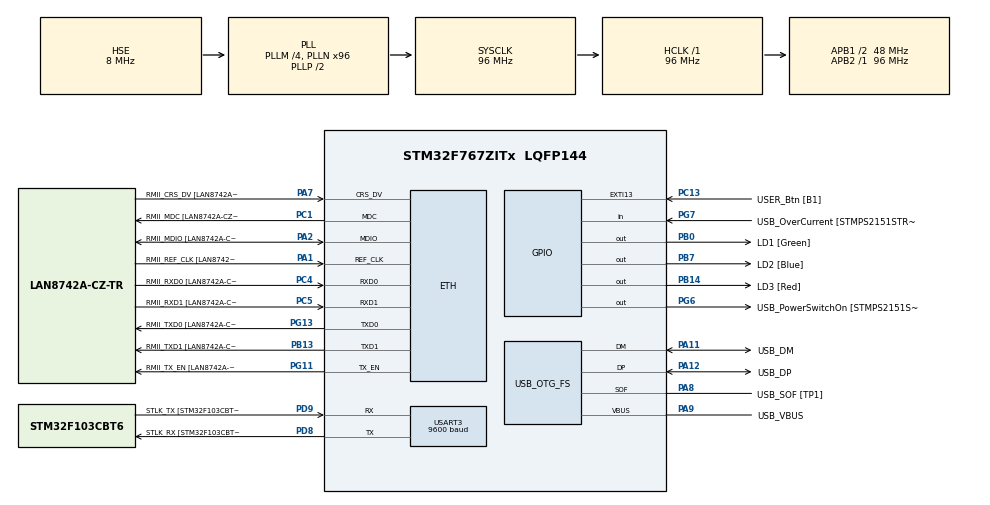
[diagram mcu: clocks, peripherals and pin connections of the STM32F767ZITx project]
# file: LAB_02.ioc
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ETH.MediaInterface=HAL_ETH_RMII_MODE
ETH.PHY_Name=LAN8742A_PHY_ADDRESS
ETH.PHY_Value=0
ETH.PhyAddress=0
Mcu.Family=STM32F7
Mcu.Name=STM32F767ZITx
Mcu.Package=LQFP144
NVIC.PriorityGroup=NVIC_PRIORITYGROUP_4
NVIC.USART3_IRQn=true\:0\:0\:false\:false\:true\:true\:true\:true
PA1.GPIO_Label=RMII_REF_CLK [LAN8742A-CZ-TR_REFCLK0]
PA1.Mode=RMII
PA1.Signal=ETH_REF_CLK
PA10.GPIO_Label=USB_ID
PA10.Signal=USB_OTG_FS_ID
PA11.GPIO_Label=USB_DM
PA11.Mode=Device_Only
PA11.Signal=USB_OTG_FS_DM
PA12.GPIO_Label=USB_DP
PA12.Mode=Device_Only
PA12.Signal=USB_OTG_FS_DP
PA13.GPIO_Label=TMS
PA13.Mode=Serial_Wire
PA13.Signal=SYS_JTMS-SWDIO
PA14.GPIO_Label=TCK
PA14.Mode=Serial_Wire
PA14.Signal=SYS_JTCK-SWCLK
PA2.GPIO_Label=RMII_MDIO [LAN8742A-CZ-TR_MDIO]
PA2.Mode=RMII
PA2.Signal=ETH_MDIO
PA7.GPIO_Label=RMII_CRS_DV [LAN8742A-CZ-TR_CRS_DV]
PA7.Mode=RMII
PA7.Signal=ETH_CRS_DV
PA8.GPIO_Label=USB_SOF [TP1]
PA8.Mode=Activate_SOF_FS
PA8.Signal=USB_OTG_FS_SOF
PA9.GPIO_Label=USB_VBUS
PA9.Mode=Activate_VBUS
PA9.Signal=USB_OTG_FS_VBUS
PB0.GPIO_Label=LD1 [Green]
PB0.Signal=GPIO_Output
PB13.GPIO_Label=RMII_TXD1 [LAN8742A-CZ-TR_TXD1]
PB13.Mode=RMII
PB13.Signal=ETH_TXD1
PB14.GPIO_Label=LD3 [Red]
PB14.Signal=GPIO_Output
PB3.GPIO_Label=SWO
PB3.Signal=SYS_JTDO-SWO
PB7.GPIO_Label=LD2 [Blue]
PB7.Signal=GPIO_Output
PC1.GPIO_Label=RMII_MDC [LAN8742A-CZ-TR_MDC]
PC1.Mode=RMII
PC1.Signal=ETH_MDC
PC13.GPIO_Label=USER_Btn [B1]
PC13.Signal=GPXTI13
PC14/OSC32_IN.Mode=LSE-External-Oscillator
PC14/OSC32_IN.Signal=RCC_OSC32_IN
PC15/OSC32_OUT.Mode=LSE-External-Oscillator
PC15/OSC32_OUT.Signal=RCC_OSC32_OUT
PC4.GPIO_Label=RMII_RXD0 [LAN8742A-CZ-TR_RXD0]
PC4.Mode=RMII
PC4.Signal=ETH_RXD0
PC5.GPIO_Label=RMII_RXD1 [LAN8742A-CZ-TR_RXD1]
PC5.Mode=RMII
PC5.Signal=ETH_RXD1
PD8.GPIO_Label=STLK_RX [STM32F103CBT6_PA3]
PD8.Mode=Asynchronous
PD8.Signal=USART3_TX
PD9.GPIO_Label=STLK_TX [STM32F103CBT6_PA2]
PD9.Mode=Asynchronous
PD9.Signal=USART3_RX
PG11.GPIO_Label=RMII_TX_EN [LAN8742A-CZ-TR_TXEN]
PG11.Mode=RMII
PG11.Signal=ETH_TX_EN
PG13.GPIO_Label=RMII_TXD0 [LAN8742A-CZ-TR_TXD0]
PG13.Mode=RMII
PG13.Signal=ETH_TXD0
PG6.GPIO_Label=USB_PowerSwitchOn [STMPS2151STR_EN]
PG6.Signal=GPIO_Output
PG7.GPIO_Label=USB_OverCurrent [STMPS2151STR_FAULT]
PG7.Signal=GPIO_Input
PH0/OSC_IN.GPIO_Label=MCO [STM32F103CBT6_PA8]
PH0/OSC_IN.Mode=HSE-External-Clock-Source
PH0/OSC_IN.Signal=RCC_OSC_IN
PH1/OSC_OUT.Mode=HSE-External-Clock-Source
PH1/OSC_OUT.Signal=RCC_OSC_OUT
ProjectManager.HeapSize=0x200
ProjectManager.StackSize=0x400
ProjectManager.TargetToolchain=STM32CubeIDE
RCC.48MHZClocksFreq_Value=24000000
RCC.AHBFreq_Value=96000000
RCC.APB1CLKDivider=RCC_HCLK_DIV2
RCC.APB1Freq_Value=48000000
RCC.APB1TimFreq_Value=96000000
RCC.APB2Freq_Value=96000000
RCC.APB2TimFreq_Value=96000000
RCC.CortexFreq_Value=96000000
RCC.HCLKFreq_Value=96000000
RCC.HSE_VALUE=8000000
RCC.HSI_VALUE=16000000
RCC.PLLM=4
RCC.PLLMUL=RCC_PLL_MUL9
RCC.PLLN=96
RCC.PLLQ=4
RCC.PRESCALERUSB=RCC_USBCLKSOURCE_PLL_DIV1_5
RCC.SYSCLKFreq_VALUE=96000000
RCC.SYSCLKSource=RCC_SYSCLKSOURCE_PLLCLK
RCC.SYSCLKSourceVirtual=RCC_SYSCLKSOURCE_PLLCLK
RCC.USBFreq_Value=48000000
RCC.VCOOutputFreq_Value=192000000
USART3.BaudRate=9600
USART3.VirtualMode-Asynchronous=VM_ASYNC
USB_OTG_FS.VirtualMode=Device_Only
board=NUCLEO-F767ZI

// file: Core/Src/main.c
/* USER CODE BEGIN Header */
/**
 ******************************************************************************
 * @file           : main.c
 * @brief          : Main program body
 ******************************************************************************
 * @attention
 *
 * Copyright (c) 2025 STMicroelectronics.
 * All rights reserved.
 *
 * This software is licensed under terms that can be found in the LICENSE file
 * in the root directory of this software component.
 * If no LICENSE file comes with this software, it is provided AS-IS.
 *
 ******************************************************************************
 */
/* USER CODE END Header */
#include "main.h"
#include "string.h"

#if defined ( __ICCARM__ ) /*!< IAR Compiler */
#pragma location=0x2007c000
ETH_DMADescTypeDef  DMARxDscrTab[ETH_RX_DESC_CNT]; /* Ethernet Rx DMA Descriptors */
#pragma location=0x2007c0a0
ETH_DMADescTypeDef  DMATxDscrTab[ETH_TX_DESC_CNT]; /* Ethernet Tx DMA Descriptors */

#elif defined ( __CC_ARM )  /* MDK ARM Compiler */

__attribute__((at(0x2007c000))) ETH_DMADescTypeDef  DMARxDscrTab[ETH_RX_DESC_CNT]; /* Ethernet Rx DMA Descriptors */
__attribute__((at(0x2007c0a0))) ETH_DMADescTypeDef  DMATxDscrTab[ETH_TX_DESC_CNT]; /* Ethernet Tx DMA Descriptors */

#elif defined ( __GNUC__ ) /* GNU Compiler */

ETH_DMADescTypeDef DMARxDscrTab[ETH_RX_DESC_CNT] __attribute__((section(".RxDecripSection"))); /* Ethernet Rx DMA Descriptors */
ETH_DMADescTypeDef DMATxDscrTab[ETH_TX_DESC_CNT] __attribute__((section(".TxDecripSection"))); /* Ethernet Tx DMA Descriptors */
#endif

ETH_TxPacketConfig TxConfig;

ETH_HandleTypeDef heth;

UART_HandleTypeDef huart3;

PCD_HandleTypeDef hpcd_USB_OTG_FS;

void SystemClock_Config(void);
static void MX_GPIO_Init(void);
static void MX_ETH_Init(void);
static void MX_USART3_UART_Init(void);
static void MX_USB_OTG_FS_PCD_Init(void);

/* USER CODE BEGIN 0 */

void UART_TransmitMessage(char *msg) {
    HAL_UART_Transmit(&huart3, (uint8_t*) msg, strlen(msg), HAL_MAX_DELAY);
}

uint8_t rx_byte;
uint8_t rxBuffer[256]; // piszcie zawsze jaki jest format wiadomosci bo bez tego jest kaplica dlatego jakis error handling z
uint16_t idx=0;			// format wiadomosc : LDxy

char conditionListPin[3]={'1','2','3'};
char conditionListState[2]={'1','0'};
char conditionListInit[2]={'L','D'};

void processMessage(char *msg){

		if(msg[0]!='L' ||
				msg[1]!='D' ||
				strchr(conditionListPin, msg[2]) == NULL ||       //strchr zwraca pointer do znaku kiedy znak znajduje sie na liscie w naszym przypadku sprawdzamy czy go nie ma wiec == null
		        strchr(conditionListState, msg[3]) == NULL )
		{
			UART_TransmitMessage("Wrong message format: LDxy where x is led number(1..3) and y is pin state (1-on, 0-off)\r\n");
		}

		//logika funkcji do dodania custom w zaleznosci od prj
		char numberChar = msg[2];
		char stateChar = msg[3];

		int ledNumber = numberChar - '0';
		int ledState = stateChar - '0';

		switch (ledNumber) {
		case 1:
			if (ledState == 1) {
				HAL_GPIO_WritePin(GPIOB, LD1_Pin, GPIO_PIN_SET);
				//UART_TransmitMessage((char)(ledNumber));
			} else if (ledState == 0) {
				HAL_GPIO_WritePin(GPIOB, LD1_Pin, GPIO_PIN_RESET);
			}
			break;
		case 2:
			if (ledState == 1) {
				HAL_GPIO_WritePin(GPIOB, LD2_Pin, GPIO_PIN_SET);
			} else if (ledState == 0) {
				HAL_GPIO_WritePin(GPIOB, LD2_Pin, GPIO_PIN_RESET);
			}
			break;
		case 3:
			if (ledState == 1) {
				HAL_GPIO_WritePin(GPIOB, LD3_Pin, GPIO_PIN_SET);
			} else if (ledState == 0) {
				HAL_GPIO_WritePin(GPIOB, LD3_Pin, GPIO_PIN_RESET);
			}
			break;
		default:
			break;
		}
}

void HAL_UART_RxCpltCallback(UART_HandleTypeDef *huart) {
	if (huart->Instance == USART3)
	    {
	        uint8_t byte = rx_byte;

	        if (byte == '\r')
	        {
	            rxBuffer[idx] = '\0';
	            processMessage(rxBuffer);
	            idx = 0;
	        }
	        else
	        {
	            if (idx < 256 - 1)
	            {
	                rxBuffer[idx++] = byte;
	            }
	            else
	            {
	                idx = 0;   // overflow handling
	            }
	        }
	        HAL_UART_Receive_IT(&huart3, &rx_byte, 1);
	    }
}
/* USER CODE END 0 */

int main(void) {

	/* MCU Configuration--------------------------------------------------------*/

	/* Reset of all peripherals, Initializes the Flash interface and the Systick. */
	HAL_Init();

	/* Configure the system clock */
	SystemClock_Config();

	/* Initialize all configured peripherals */
	MX_GPIO_Init();
	MX_ETH_Init();
	MX_USART3_UART_Init();
	MX_USB_OTG_FS_PCD_Init();
	/* USER CODE BEGIN 2 */

	//HAL_UART_Receive_IT(&huart3, rxBuffer, 4);
	HAL_UART_Receive_IT(&huart3, &rx_byte, 1);
	/* USER CODE END 2 */

	/* Infinite loop */
	/* USER CODE BEGIN WHILE */
	while (1) {
		HAL_Delay(10);
		/* USER CODE END WHILE */
	}
}

void SystemClock_Config(void) {
	RCC_OscInitTypeDef RCC_OscInitStruct = { 0 };
	RCC_ClkInitTypeDef RCC_ClkInitStruct = { 0 };

	/** Configure LSE Drive Capability
	 */
	HAL_PWR_EnableBkUpAccess();

	/** Configure the main internal regulator output voltage
	 */
	__HAL_RCC_PWR_CLK_ENABLE();
	__HAL_PWR_VOLTAGESCALING_CONFIG(PWR_REGULATOR_VOLTAGE_SCALE3);

	/** Initializes the RCC Oscillators according to the specified parameters
	 * in the RCC_OscInitTypeDef structure.
	 */
	RCC_OscInitStruct.OscillatorType = RCC_OSCILLATORTYPE_HSE;
	RCC_OscInitStruct.HSEState = RCC_HSE_BYPASS;
	RCC_OscInitStruct.PLL.PLLState = RCC_PLL_ON;
	RCC_OscInitStruct.PLL.PLLSource = RCC_PLLSOURCE_HSE;
	RCC_OscInitStruct.PLL.PLLM = 4;
	RCC_OscInitStruct.PLL.PLLN = 96;
	RCC_OscInitStruct.PLL.PLLP = RCC_PLLP_DIV2;
	RCC_OscInitStruct.PLL.PLLQ = 4;
	RCC_OscInitStruct.PLL.PLLR = 2;
	if (HAL_RCC_OscConfig(&RCC_OscInitStruct) != HAL_OK) {
		Error_Handler();
	}

	/** Activate the Over-Drive mode
	 */
	if (HAL_PWREx_EnableOverDrive() != HAL_OK) {
		Error_Handler();
	}

	/** Initializes the CPU, AHB and APB buses clocks
	 */
	RCC_ClkInitStruct.ClockType = RCC_CLOCKTYPE_HCLK | RCC_CLOCKTYPE_SYSCLK
			| RCC_CLOCKTYPE_PCLK1 | RCC_CLOCKTYPE_PCLK2;
	RCC_ClkInitStruct.SYSCLKSource = RCC_SYSCLKSOURCE_PLLCLK;
	RCC_ClkInitStruct.AHBCLKDivider = RCC_SYSCLK_DIV1;
	RCC_ClkInitStruct.APB1CLKDivider = RCC_HCLK_DIV2;
	RCC_ClkInitStruct.APB2CLKDivider = RCC_HCLK_DIV1;

	if (HAL_RCC_ClockConfig(&RCC_ClkInitStruct, FLASH_LATENCY_3) != HAL_OK) {
		Error_Handler();
	}
}

static void MX_ETH_Init(void) {

	static uint8_t MACAddr[6];

	heth.Instance = ETH;
	MACAddr[0] = 0x00;
	MACAddr[1] = 0x80;
	MACAddr[2] = 0xE1;
	MACAddr[3] = 0x00;
	MACAddr[4] = 0x00;
	MACAddr[5] = 0x00;
	heth.Init.MACAddr = &MACAddr[0];
	heth.Init.MediaInterface = HAL_ETH_RMII_MODE;
	heth.Init.TxDesc = DMATxDscrTab;
	heth.Init.RxDesc = DMARxDscrTab;
	heth.Init.RxBuffLen = 1524;

	if (HAL_ETH_Init(&heth) != HAL_OK) {
		Error_Handler();
	}

	memset(&TxConfig, 0, sizeof(ETH_TxPacketConfig));
	TxConfig.Attributes = ETH_TX_PACKETS_FEATURES_CSUM
			| ETH_TX_PACKETS_FEATURES_CRCPAD;
	TxConfig.ChecksumCtrl = ETH_CHECKSUM_IPHDR_PAYLOAD_INSERT_PHDR_CALC;
	TxConfig.CRCPadCtrl = ETH_CRC_PAD_INSERT;

}

static void MX_USART3_UART_Init(void) {

	huart3.Instance = USART3;
	huart3.Init.BaudRate = 9600;
	huart3.Init.WordLength = UART_WORDLENGTH_8B;
	huart3.Init.StopBits = UART_STOPBITS_1;
	huart3.Init.Parity = UART_PARITY_NONE;
	huart3.Init.Mode = UART_MODE_TX_RX;
	huart3.Init.HwFlowCtl = UART_HWCONTROL_NONE;
	huart3.Init.OverSampling = UART_OVERSAMPLING_16;
	huart3.Init.OneBitSampling = UART_ONE_BIT_SAMPLE_DISABLE;
	huart3.AdvancedInit.AdvFeatureInit = UART_ADVFEATURE_NO_INIT;
	if (HAL_UART_Init(&huart3) != HAL_OK) {
		Error_Handler();
	}

}

static void MX_USB_OTG_FS_PCD_Init(void) {

	hpcd_USB_OTG_FS.Instance = USB_OTG_FS;
	hpcd_USB_OTG_FS.Init.dev_endpoints = 6;
	hpcd_USB_OTG_FS.Init.speed = PCD_SPEED_FULL;
	hpcd_USB_OTG_FS.Init.dma_enable = DISABLE;
	hpcd_USB_OTG_FS.Init.phy_itface = PCD_PHY_EMBEDDED;
	hpcd_USB_OTG_FS.Init.Sof_enable = ENABLE;
	hpcd_USB_OTG_FS.Init.low_power_enable = DISABLE;
	hpcd_USB_OTG_FS.Init.lpm_enable = DISABLE;
	hpcd_USB_OTG_FS.Init.vbus_sensing_enable = ENABLE;
	hpcd_USB_OTG_FS.Init.use_dedicated_ep1 = DISABLE;
	if (HAL_PCD_Init(&hpcd_USB_OTG_FS) != HAL_OK) {
		Error_Handler();
	}

}

static void MX_GPIO_Init(void) {
	GPIO_InitTypeDef GPIO_InitStruct = { 0 };

	/* GPIO Ports Clock Enable */
	__HAL_RCC_GPIOC_CLK_ENABLE();
	__HAL_RCC_GPIOH_CLK_ENABLE();
	__HAL_RCC_GPIOA_CLK_ENABLE();
	__HAL_RCC_GPIOB_CLK_ENABLE();
	__HAL_RCC_GPIOD_CLK_ENABLE();
	__HAL_RCC_GPIOG_CLK_ENABLE();

	/*Configure GPIO pin Output Level */
	HAL_GPIO_WritePin(GPIOB, LD1_Pin | LD3_Pin | LD2_Pin, GPIO_PIN_RESET);

	/*Configure GPIO pin Output Level */
	HAL_GPIO_WritePin(USB_PowerSwitchOn_GPIO_Port, USB_PowerSwitchOn_Pin,
			GPIO_PIN_RESET);

	/*Configure GPIO pin : USER_Btn_Pin */
	GPIO_InitStruct.Pin = USER_Btn_Pin;
	GPIO_InitStruct.Mode = GPIO_MODE_IT_RISING;
	GPIO_InitStruct.Pull = GPIO_NOPULL;
	HAL_GPIO_Init(USER_Btn_GPIO_Port, &GPIO_InitStruct);

	/*Configure GPIO pins : LD1_Pin LD3_Pin LD2_Pin */
	GPIO_InitStruct.Pin = LD1_Pin | LD3_Pin | LD2_Pin;
	GPIO_InitStruct.Mode = GPIO_MODE_OUTPUT_PP;
	GPIO_InitStruct.Pull = GPIO_NOPULL;
	GPIO_InitStruct.Speed = GPIO_SPEED_FREQ_LOW;
	HAL_GPIO_Init(GPIOB, &GPIO_InitStruct);

	/*Configure GPIO pin : USB_PowerSwitchOn_Pin */
	GPIO_InitStruct.Pin = USB_PowerSwitchOn_Pin;
	GPIO_InitStruct.Mode = GPIO_MODE_OUTPUT_PP;
	GPIO_InitStruct.Pull = GPIO_NOPULL;
	GPIO_InitStruct.Speed = GPIO_SPEED_FREQ_LOW;
	HAL_GPIO_Init(USB_PowerSwitchOn_GPIO_Port, &GPIO_InitStruct);

	/*Configure GPIO pin : USB_OverCurrent_Pin */
	GPIO_InitStruct.Pin = USB_OverCurrent_Pin;
	GPIO_InitStruct.Mode = GPIO_MODE_INPUT;
	GPIO_InitStruct.Pull = GPIO_NOPULL;
	HAL_GPIO_Init(USB_OverCurrent_GPIO_Port, &GPIO_InitStruct);

}

void Error_Handler(void) {
	__disable_irq();
	while (1) {
	}
}
